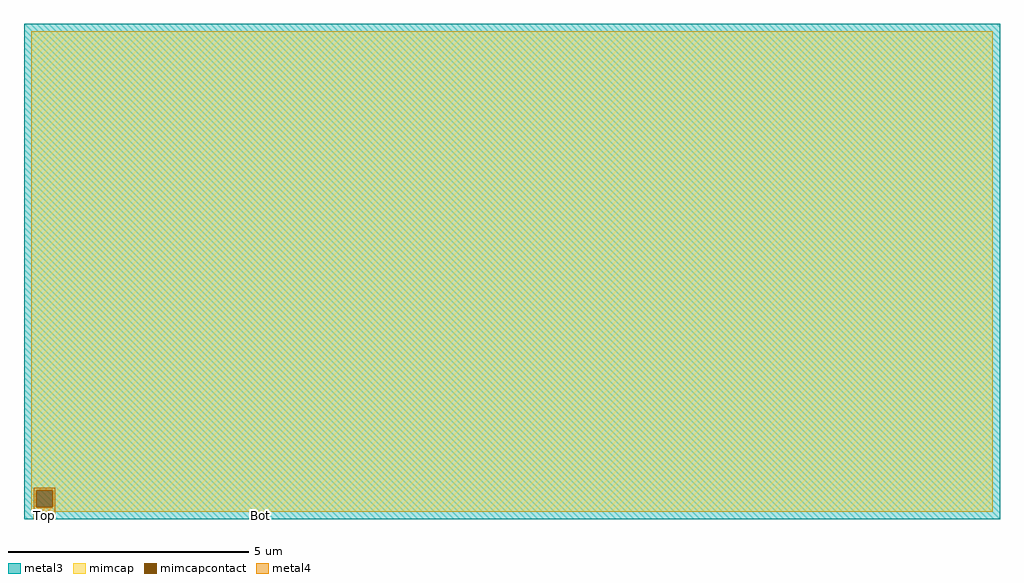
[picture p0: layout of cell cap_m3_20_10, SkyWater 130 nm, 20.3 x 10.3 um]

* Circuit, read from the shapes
.subckt cap_m3_20_10 Top Bot
XC1 Top Bot sky130_fd_pr__cap_mim_m3_1 w=20 l=10
.ends

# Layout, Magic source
magic
tech sky130A
<< metal3 >>
rect -15 -15 2015 1015
<< mimcap >>
rect 0 45 2000 1000
rect 0 10 10 45
rect 45 10 2000 45
rect 0 0 2000 10
<< mimcapcontact >>
rect 10 10 45 45
<< metal4 >>
rect 5 45 50 50
rect 5 10 10 45
rect 45 10 50 45
rect 5 -15 50 10
<< labels >>
rlabel metal4 5 -15 50 0 5 Top
port 1 s
rlabel metal3 455 -15 500 0 5 Bot
port 2 s
<< end >>
